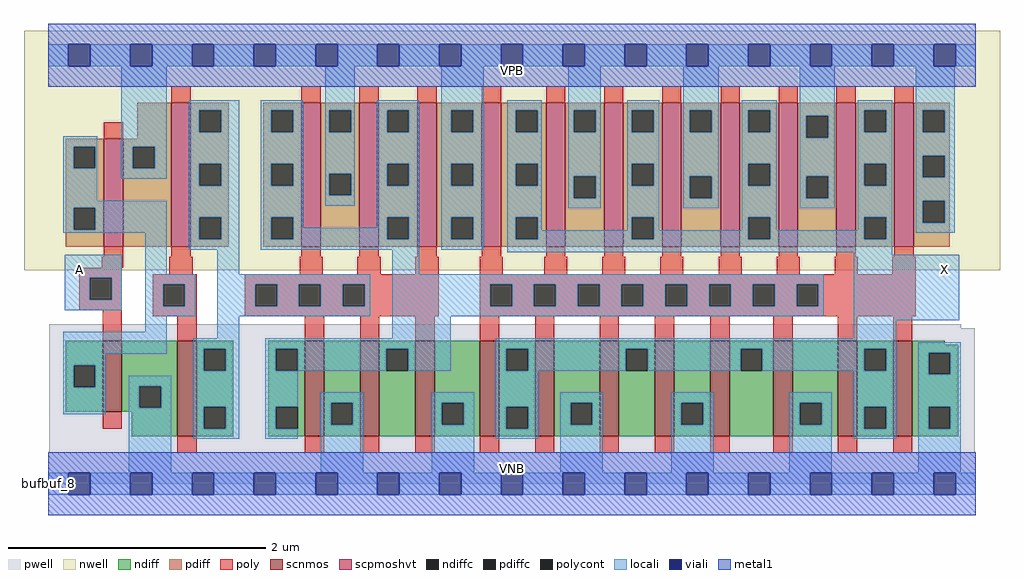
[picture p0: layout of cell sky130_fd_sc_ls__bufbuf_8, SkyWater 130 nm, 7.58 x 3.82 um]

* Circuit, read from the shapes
.subckt sky130_fd_sc_ls__bufbuf_8 A VGND VNB VPB VPWR X
XM1 VGND A n1 VNB sky130_fd_pr__nfet_01v8 w=0.55 l=0.15
XM2 n2 n1 VGND VNB sky130_fd_pr__nfet_01v8 w=0.74 l=0.15
XM3 VGND n2 n3 VNB sky130_fd_pr__nfet_01v8 w=0.74 l=0.15 m=3
XM4 X n3 VGND VNB sky130_fd_pr__nfet_01v8 w=0.74 l=0.15 m=8
XM5 VPWR A n1 VPB sky130_fd_pr__pfet_01v8_hvt w=0.84 l=0.15
XM6 n2 n1 VPWR VPB sky130_fd_pr__pfet_01v8_hvt w=1.12 l=0.15
XM7 VPWR n2 n3 VPB sky130_fd_pr__pfet_01v8_hvt w=1.12 l=0.15 m=3
XM8 X n3 VPWR VPB sky130_fd_pr__pfet_01v8_hvt w=1.12 l=0.15 m=8
.ends

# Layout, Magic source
magic
tech sky130A
magscale 1 2
<< nwell >>
rect -38 332 1478 704
<< pwell >>
rect 1 242 1418 248
rect 1 49 1439 242
rect 0 0 1440 49
<< scnmos >>
rect 84 112 114 222
rect 200 74 230 222
rect 398 74 428 222
rect 484 74 514 222
rect 570 74 600 222
rect 670 74 700 222
rect 756 74 786 222
rect 856 74 886 222
rect 942 74 972 222
rect 1028 74 1058 222
rect 1126 74 1156 222
rect 1226 74 1256 222
rect 1312 74 1342 222
<< scpmoshvt >>
rect 86 368 116 536
rect 191 368 221 592
rect 393 368 423 592
rect 483 368 513 592
rect 573 368 603 592
rect 673 368 703 592
rect 773 368 803 592
rect 863 368 893 592
rect 953 368 983 592
rect 1044 368 1074 592
rect 1134 368 1164 592
rect 1224 368 1254 592
rect 1314 368 1344 592
<< ndiff >>
rect 27 184 84 222
rect 27 150 39 184
rect 73 150 84 184
rect 27 112 84 150
rect 114 152 200 222
rect 114 118 141 152
rect 175 118 200 152
rect 114 112 200 118
rect 129 74 200 112
rect 230 210 287 222
rect 230 176 241 210
rect 275 176 287 210
rect 230 120 287 176
rect 230 86 241 120
rect 275 86 287 120
rect 230 74 287 86
rect 341 210 398 222
rect 341 176 353 210
rect 387 176 398 210
rect 341 120 398 176
rect 341 86 353 120
rect 387 86 398 120
rect 341 74 398 86
rect 428 126 484 222
rect 428 92 439 126
rect 473 92 484 126
rect 428 74 484 92
rect 514 210 570 222
rect 514 176 525 210
rect 559 176 570 210
rect 514 74 570 176
rect 600 126 670 222
rect 600 92 611 126
rect 645 92 670 126
rect 600 74 670 92
rect 700 210 756 222
rect 700 176 711 210
rect 745 176 756 210
rect 700 120 756 176
rect 700 86 711 120
rect 745 86 756 120
rect 700 74 756 86
rect 786 126 856 222
rect 786 92 811 126
rect 845 92 856 126
rect 786 74 856 92
rect 886 210 942 222
rect 886 176 897 210
rect 931 176 942 210
rect 886 74 942 176
rect 972 126 1028 222
rect 972 92 983 126
rect 1017 92 1028 126
rect 972 74 1028 92
rect 1058 210 1126 222
rect 1058 176 1075 210
rect 1109 176 1126 210
rect 1058 74 1126 176
rect 1156 126 1226 222
rect 1156 92 1167 126
rect 1201 92 1226 126
rect 1156 74 1226 92
rect 1256 210 1312 222
rect 1256 176 1267 210
rect 1301 176 1312 210
rect 1256 120 1312 176
rect 1256 86 1267 120
rect 1301 86 1312 120
rect 1256 74 1312 86
rect 1342 216 1392 222
rect 1342 204 1413 216
rect 1342 170 1367 204
rect 1401 170 1413 204
rect 1342 120 1413 170
rect 1342 86 1367 120
rect 1401 86 1413 120
rect 1342 74 1413 86
<< pdiff >>
rect 138 536 191 592
rect 27 524 86 536
rect 27 490 39 524
rect 73 490 86 524
rect 27 429 86 490
rect 27 395 39 429
rect 73 395 86 429
rect 27 368 86 395
rect 116 524 191 536
rect 116 490 131 524
rect 165 490 191 524
rect 116 368 191 490
rect 221 580 280 592
rect 221 546 234 580
rect 268 546 280 580
rect 221 497 280 546
rect 221 463 234 497
rect 268 463 280 497
rect 221 414 280 463
rect 221 380 234 414
rect 268 380 280 414
rect 221 368 280 380
rect 334 580 393 592
rect 334 546 346 580
rect 380 546 393 580
rect 334 497 393 546
rect 334 463 346 497
rect 380 463 393 497
rect 334 414 393 463
rect 334 380 346 414
rect 380 380 393 414
rect 334 368 393 380
rect 423 580 483 592
rect 423 546 436 580
rect 470 546 483 580
rect 423 482 483 546
rect 423 448 436 482
rect 470 448 483 482
rect 423 368 483 448
rect 513 580 573 592
rect 513 546 526 580
rect 560 546 573 580
rect 513 497 573 546
rect 513 463 526 497
rect 560 463 573 497
rect 513 414 573 463
rect 513 380 526 414
rect 560 380 573 414
rect 513 368 573 380
rect 603 580 673 592
rect 603 546 626 580
rect 660 546 673 580
rect 603 497 673 546
rect 603 463 626 497
rect 660 463 673 497
rect 603 414 673 463
rect 603 380 626 414
rect 660 380 673 414
rect 603 368 673 380
rect 703 580 773 592
rect 703 546 726 580
rect 760 546 773 580
rect 703 497 773 546
rect 703 463 726 497
rect 760 463 773 497
rect 703 414 773 463
rect 703 380 726 414
rect 760 380 773 414
rect 703 368 773 380
rect 803 580 863 592
rect 803 546 816 580
rect 850 546 863 580
rect 803 478 863 546
rect 803 444 816 478
rect 850 444 863 478
rect 803 368 863 444
rect 893 580 953 592
rect 893 546 906 580
rect 940 546 953 580
rect 893 497 953 546
rect 893 463 906 497
rect 940 463 953 497
rect 893 414 953 463
rect 893 380 906 414
rect 940 380 953 414
rect 893 368 953 380
rect 983 580 1044 592
rect 983 546 996 580
rect 1030 546 1044 580
rect 983 478 1044 546
rect 983 444 996 478
rect 1030 444 1044 478
rect 983 368 1044 444
rect 1074 580 1134 592
rect 1074 546 1087 580
rect 1121 546 1134 580
rect 1074 497 1134 546
rect 1074 463 1087 497
rect 1121 463 1134 497
rect 1074 414 1134 463
rect 1074 380 1087 414
rect 1121 380 1134 414
rect 1074 368 1134 380
rect 1164 572 1224 592
rect 1164 538 1177 572
rect 1211 538 1224 572
rect 1164 478 1224 538
rect 1164 444 1177 478
rect 1211 444 1224 478
rect 1164 368 1224 444
rect 1254 580 1314 592
rect 1254 546 1267 580
rect 1301 546 1314 580
rect 1254 497 1314 546
rect 1254 463 1267 497
rect 1301 463 1314 497
rect 1254 414 1314 463
rect 1254 380 1267 414
rect 1301 380 1314 414
rect 1254 368 1314 380
rect 1344 580 1400 592
rect 1344 546 1358 580
rect 1392 546 1400 580
rect 1344 510 1400 546
rect 1344 476 1358 510
rect 1392 476 1400 510
rect 1344 440 1400 476
rect 1344 406 1358 440
rect 1392 406 1400 440
rect 1344 368 1400 406
<< ndiffc >>
rect 39 150 73 184
rect 141 118 175 152
rect 241 176 275 210
rect 241 86 275 120
rect 353 176 387 210
rect 353 86 387 120
rect 439 92 473 126
rect 525 176 559 210
rect 611 92 645 126
rect 711 176 745 210
rect 711 86 745 120
rect 811 92 845 126
rect 897 176 931 210
rect 983 92 1017 126
rect 1075 176 1109 210
rect 1167 92 1201 126
rect 1267 176 1301 210
rect 1267 86 1301 120
rect 1367 170 1401 204
rect 1367 86 1401 120
<< pdiffc >>
rect 39 490 73 524
rect 39 395 73 429
rect 131 490 165 524
rect 234 546 268 580
rect 234 463 268 497
rect 234 380 268 414
rect 346 546 380 580
rect 346 463 380 497
rect 346 380 380 414
rect 436 546 470 580
rect 436 448 470 482
rect 526 546 560 580
rect 526 463 560 497
rect 526 380 560 414
rect 626 546 660 580
rect 626 463 660 497
rect 626 380 660 414
rect 726 546 760 580
rect 726 463 760 497
rect 726 380 760 414
rect 816 546 850 580
rect 816 444 850 478
rect 906 546 940 580
rect 906 463 940 497
rect 906 380 940 414
rect 996 546 1030 580
rect 996 444 1030 478
rect 1087 546 1121 580
rect 1087 463 1121 497
rect 1087 380 1121 414
rect 1177 538 1211 572
rect 1177 444 1211 478
rect 1267 546 1301 580
rect 1267 463 1301 497
rect 1267 380 1301 414
rect 1358 546 1392 580
rect 1358 476 1392 510
rect 1358 406 1392 440
<< poly >>
rect 191 592 221 618
rect 393 592 423 618
rect 483 592 513 618
rect 573 592 603 618
rect 673 592 703 618
rect 773 592 803 618
rect 863 592 893 618
rect 953 592 983 618
rect 1044 592 1074 618
rect 1134 592 1164 618
rect 1224 592 1254 618
rect 1314 592 1344 618
rect 86 536 116 562
rect 86 353 116 368
rect 191 353 221 368
rect 393 353 423 368
rect 483 353 513 368
rect 573 353 603 368
rect 673 353 703 368
rect 773 353 803 368
rect 863 353 893 368
rect 953 353 983 368
rect 1044 353 1074 368
rect 1134 353 1164 368
rect 1224 353 1254 368
rect 1314 353 1344 368
rect 83 336 116 353
rect 48 320 114 336
rect 188 326 224 353
rect 390 326 426 353
rect 480 326 516 353
rect 570 326 606 353
rect 48 286 64 320
rect 98 286 114 320
rect 48 270 114 286
rect 84 222 114 270
rect 162 310 230 326
rect 162 276 178 310
rect 212 276 230 310
rect 162 260 230 276
rect 305 310 606 326
rect 305 276 321 310
rect 355 276 389 310
rect 423 276 457 310
rect 491 276 606 310
rect 305 260 606 276
rect 670 326 706 353
rect 770 326 806 353
rect 860 326 896 353
rect 950 326 986 353
rect 1041 326 1077 353
rect 1131 326 1167 353
rect 1221 326 1257 353
rect 1311 326 1347 353
rect 670 310 1347 326
rect 670 276 686 310
rect 720 276 754 310
rect 788 276 822 310
rect 856 276 890 310
rect 924 276 958 310
rect 992 276 1026 310
rect 1060 276 1094 310
rect 1128 276 1162 310
rect 1196 276 1347 310
rect 670 260 1347 276
rect 200 222 230 260
rect 398 222 428 260
rect 484 222 514 260
rect 570 222 600 260
rect 670 222 700 260
rect 756 222 786 260
rect 856 222 886 260
rect 942 222 972 260
rect 1028 222 1058 260
rect 1126 222 1156 260
rect 1226 222 1256 260
rect 1312 222 1342 260
rect 84 86 114 112
rect 200 48 230 74
rect 398 48 428 74
rect 484 48 514 74
rect 570 48 600 74
rect 670 48 700 74
rect 756 48 786 74
rect 856 48 886 74
rect 942 48 972 74
rect 1028 48 1058 74
rect 1126 48 1156 74
rect 1226 48 1256 74
rect 1312 48 1342 74
<< polycont >>
rect 64 286 98 320
rect 178 276 212 310
rect 321 276 355 310
rect 389 276 423 310
rect 457 276 491 310
rect 686 276 720 310
rect 754 276 788 310
rect 822 276 856 310
rect 890 276 924 310
rect 958 276 992 310
rect 1026 276 1060 310
rect 1094 276 1128 310
rect 1162 276 1196 310
<< locali >>
rect 0 649 31 683
rect 65 649 127 683
rect 161 649 223 683
rect 257 649 319 683
rect 353 649 415 683
rect 449 649 511 683
rect 545 649 607 683
rect 641 649 703 683
rect 737 649 799 683
rect 833 649 895 683
rect 929 649 991 683
rect 1025 649 1087 683
rect 1121 649 1183 683
rect 1217 649 1279 683
rect 1313 649 1375 683
rect 1409 649 1440 683
rect 23 524 76 540
rect 23 490 39 524
rect 73 490 76 524
rect 23 440 76 490
rect 113 524 184 649
rect 113 490 131 524
rect 165 490 184 524
rect 113 474 184 490
rect 218 580 296 596
rect 218 546 234 580
rect 268 546 296 580
rect 218 497 296 546
rect 218 463 234 497
rect 268 463 296 497
rect 23 429 184 440
rect 23 395 39 429
rect 73 395 184 429
rect 23 390 184 395
rect 25 320 114 356
rect 25 286 64 320
rect 98 286 114 320
rect 25 270 114 286
rect 150 326 184 390
rect 218 414 296 463
rect 218 380 234 414
rect 268 380 296 414
rect 218 364 296 380
rect 330 580 396 596
rect 330 546 346 580
rect 380 546 396 580
rect 330 497 396 546
rect 330 463 346 497
rect 380 463 396 497
rect 330 414 396 463
rect 430 580 476 649
rect 430 546 436 580
rect 470 546 476 580
rect 430 482 476 546
rect 430 448 436 482
rect 470 448 476 482
rect 430 432 476 448
rect 510 580 576 596
rect 510 546 526 580
rect 560 546 576 580
rect 510 497 576 546
rect 510 463 526 497
rect 560 463 576 497
rect 330 380 346 414
rect 380 398 396 414
rect 510 414 576 463
rect 510 398 526 414
rect 380 380 526 398
rect 560 380 576 414
rect 330 364 576 380
rect 610 580 676 649
rect 610 546 626 580
rect 660 546 676 580
rect 610 497 676 546
rect 610 463 626 497
rect 660 463 676 497
rect 610 414 676 463
rect 610 380 626 414
rect 660 380 676 414
rect 610 364 676 380
rect 713 580 766 596
rect 713 546 726 580
rect 760 546 766 580
rect 713 497 766 546
rect 713 463 726 497
rect 760 463 766 497
rect 713 414 766 463
rect 807 580 858 649
rect 807 546 816 580
rect 850 546 858 580
rect 807 478 858 546
rect 807 444 816 478
rect 850 444 858 478
rect 807 428 858 444
rect 899 580 949 596
rect 899 546 906 580
rect 940 546 949 580
rect 899 497 949 546
rect 899 463 906 497
rect 940 463 949 497
rect 713 380 726 414
rect 760 394 766 414
rect 899 414 949 463
rect 986 580 1041 649
rect 986 546 996 580
rect 1030 546 1041 580
rect 986 478 1041 546
rect 986 444 996 478
rect 1030 444 1041 478
rect 986 428 1041 444
rect 1077 580 1131 596
rect 1077 546 1087 580
rect 1121 546 1131 580
rect 1077 497 1131 546
rect 1077 463 1087 497
rect 1121 463 1131 497
rect 899 394 906 414
rect 760 380 906 394
rect 940 394 949 414
rect 1077 414 1131 463
rect 1167 572 1221 649
rect 1167 538 1177 572
rect 1211 538 1221 572
rect 1167 478 1221 538
rect 1167 444 1177 478
rect 1211 444 1221 478
rect 1167 428 1221 444
rect 1257 580 1311 596
rect 1257 546 1267 580
rect 1301 546 1311 580
rect 1257 497 1311 546
rect 1257 463 1267 497
rect 1301 463 1311 497
rect 1077 394 1087 414
rect 940 380 1087 394
rect 1121 394 1131 414
rect 1257 414 1311 463
rect 1257 394 1267 414
rect 1121 380 1267 394
rect 1301 380 1311 414
rect 1347 580 1408 649
rect 1347 546 1358 580
rect 1392 546 1408 580
rect 1347 510 1408 546
rect 1347 476 1358 510
rect 1392 476 1408 510
rect 1347 440 1408 476
rect 1347 406 1358 440
rect 1392 406 1408 440
rect 1347 390 1408 406
rect 262 326 296 364
rect 534 326 576 364
rect 713 360 1311 380
rect 1251 356 1311 360
rect 150 310 228 326
rect 150 276 178 310
rect 212 276 228 310
rect 150 260 228 276
rect 262 310 500 326
rect 262 276 321 310
rect 355 276 389 310
rect 423 276 457 310
rect 491 276 500 310
rect 262 260 500 276
rect 534 310 1204 326
rect 534 276 686 310
rect 720 276 754 310
rect 788 276 822 310
rect 856 276 890 310
rect 924 276 958 310
rect 992 276 1026 310
rect 1060 276 1094 310
rect 1128 276 1162 310
rect 1196 276 1204 310
rect 534 260 1204 276
rect 150 236 184 260
rect 23 202 184 236
rect 262 226 296 260
rect 534 226 625 260
rect 1251 254 1415 356
rect 1251 226 1317 254
rect 225 210 296 226
rect 23 184 89 202
rect 23 150 39 184
rect 73 150 89 184
rect 225 176 241 210
rect 275 176 296 210
rect 23 108 89 150
rect 125 152 191 168
rect 125 118 141 152
rect 175 118 191 152
rect 125 17 191 118
rect 225 120 296 176
rect 225 86 241 120
rect 275 86 296 120
rect 225 70 296 86
rect 337 210 625 226
rect 337 176 353 210
rect 387 176 525 210
rect 559 176 625 210
rect 695 210 1317 226
rect 695 176 711 210
rect 745 176 897 210
rect 931 176 1075 210
rect 1109 176 1267 210
rect 1301 176 1317 210
rect 337 120 387 176
rect 337 86 353 120
rect 337 70 387 86
rect 423 126 489 142
rect 423 92 439 126
rect 473 92 489 126
rect 423 17 489 92
rect 595 126 661 142
rect 595 92 611 126
rect 645 92 661 126
rect 595 17 661 92
rect 695 120 761 176
rect 695 86 711 120
rect 745 86 761 120
rect 695 70 761 86
rect 795 126 861 142
rect 795 92 811 126
rect 845 92 861 126
rect 795 17 861 92
rect 967 126 1033 142
rect 967 92 983 126
rect 1017 92 1033 126
rect 967 17 1033 92
rect 1151 126 1217 142
rect 1151 92 1167 126
rect 1201 92 1217 126
rect 1151 17 1217 92
rect 1251 120 1317 176
rect 1251 86 1267 120
rect 1301 86 1317 120
rect 1251 70 1317 86
rect 1351 204 1417 220
rect 1351 170 1367 204
rect 1401 170 1417 204
rect 1351 120 1417 170
rect 1351 86 1367 120
rect 1401 86 1417 120
rect 1351 17 1417 86
rect 0 -17 31 17
rect 65 -17 127 17
rect 161 -17 223 17
rect 257 -17 319 17
rect 353 -17 415 17
rect 449 -17 511 17
rect 545 -17 607 17
rect 641 -17 703 17
rect 737 -17 799 17
rect 833 -17 895 17
rect 929 -17 991 17
rect 1025 -17 1087 17
rect 1121 -17 1183 17
rect 1217 -17 1279 17
rect 1313 -17 1375 17
rect 1409 -17 1440 17
<< viali >>
rect 31 649 65 683
rect 127 649 161 683
rect 223 649 257 683
rect 319 649 353 683
rect 415 649 449 683
rect 511 649 545 683
rect 607 649 641 683
rect 703 649 737 683
rect 799 649 833 683
rect 895 649 929 683
rect 991 649 1025 683
rect 1087 649 1121 683
rect 1183 649 1217 683
rect 1279 649 1313 683
rect 1375 649 1409 683
rect 31 -17 65 17
rect 127 -17 161 17
rect 223 -17 257 17
rect 319 -17 353 17
rect 415 -17 449 17
rect 511 -17 545 17
rect 607 -17 641 17
rect 703 -17 737 17
rect 799 -17 833 17
rect 895 -17 929 17
rect 991 -17 1025 17
rect 1087 -17 1121 17
rect 1183 -17 1217 17
rect 1279 -17 1313 17
rect 1375 -17 1409 17
<< metal1 >>
rect 0 683 1440 715
rect 0 649 31 683
rect 65 649 127 683
rect 161 649 223 683
rect 257 649 319 683
rect 353 649 415 683
rect 449 649 511 683
rect 545 649 607 683
rect 641 649 703 683
rect 737 649 799 683
rect 833 649 895 683
rect 929 649 991 683
rect 1025 649 1087 683
rect 1121 649 1183 683
rect 1217 649 1279 683
rect 1313 649 1375 683
rect 1409 649 1440 683
rect 0 617 1440 649
rect 0 17 1440 49
rect 0 -17 31 17
rect 65 -17 127 17
rect 161 -17 223 17
rect 257 -17 319 17
rect 353 -17 415 17
rect 449 -17 511 17
rect 545 -17 607 17
rect 641 -17 703 17
rect 737 -17 799 17
rect 833 -17 895 17
rect 929 -17 991 17
rect 1025 -17 1087 17
rect 1121 -17 1183 17
rect 1217 -17 1279 17
rect 1313 -17 1375 17
rect 1409 -17 1440 17
rect 0 -49 1440 -17
<< labels >>
rlabel comment s 0 0 0 0 4 bufbuf_8
flabel pwell s 0 0 1440 49 0 FreeSans 200 0 0 0 VNB
port 3 nsew ground bidirectional
flabel nwell s 0 617 1440 666 0 FreeSans 200 0 0 0 VPB
port 4 nsew power bidirectional
flabel metal1 s 0 617 1440 666 0 FreeSans 340 0 0 0 VPWR
port 5 nsew power bidirectional abutment
flabel metal1 s 0 0 1440 49 0 FreeSans 340 0 0 0 VGND
port 2 nsew ground bidirectional abutment
flabel locali s 31 316 65 350 0 FreeSans 340 0 0 0 A
port 1 nsew signal input
flabel locali s 1375 316 1409 350 0 FreeSans 340 0 0 0 X
port 6 nsew signal output
<< properties >>
string LEFsite unit
string LEFclass CORE
string FIXED_BBOX 0 0 1440 666
string GDS_FILE $PDKPATH/libs.ref/sky130_fd_sc_ls/gds/sky130_fd_sc_ls.gds
string LEFsymmetry X Y
string GDS_END 3893564
string GDS_START 3882610
<< end >>
